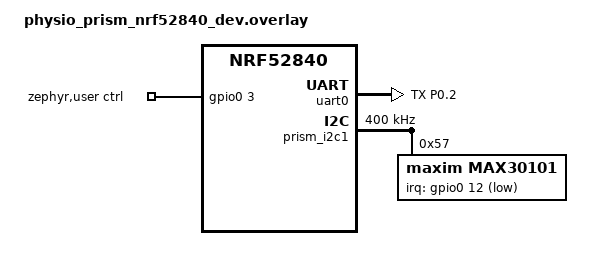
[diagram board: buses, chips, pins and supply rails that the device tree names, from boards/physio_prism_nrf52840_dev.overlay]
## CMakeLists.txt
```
# SPDX-License-Identifier: Apache-2.0

cmake_minimum_required(VERSION 3.20.0)
find_package(Zephyr REQUIRED HINTS $ENV{ZEPHYR_BASE})
project(async_app)

FILE(GLOB app_sources src/*.c)
target_sources(app PRIVATE ${app_sources})
```

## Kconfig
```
# heart rate sensor
#
# Copyright (c) 2025, CATIE
#
# SPDX-License-Identifier: Apache-2.0

mainmenu "Heart rate sample application"

DT_CHOSEN_HR := heart-rate-sensor

rsource "Kconfig.base"
rsource "Kconfig.max30101"

config SAMPLE_FEATURES
    bool
    default y if $(dt_chosen_enabled,$(DT_CHOSEN_HR))
    select MAX30101_SAMPLE_FEATURES

# Sample stream
config SAMPLE_STREAM_ENABLE
    bool "Enable asynchronous sensor stream API"

config SAMPLE_STREAM_BURST
    bool "Enable burst read"

config SAMPLE_STREAM
    bool
    depends on SAMPLE_STREAM_ENABLE

source "Kconfig.zephyr"
```

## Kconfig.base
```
# heart rate sensor base Kconfig
#
# Copyright (c) 2025, CATIE
#
# SPDX-License-Identifier: Apache-2.0

# Sample sensor channels
config SAMPLE_CHANNEL_RED
    bool
    depends on SAMPLE_CHANNEL_RED_ENABLE

config SAMPLE_CHANNEL_IR
    bool
    depends on SAMPLE_CHANNEL_IR_ENABLE

config SAMPLE_CHANNEL_GREEN
    bool
    depends on SAMPLE_CHANNEL_GREEN_ENABLE

config SAMPLE_CHANNEL_DIE_TEMP
    bool
    depends on SAMPLE_CHANNEL_DIE_TEMP_ENABLE

if SAMPLE_STREAM
# Sample sensor triggers opt DATA READY
config SAMPLE_TRIG_DATA_READY_NOP
    bool
    select SAMPLE_TRIGGER_DATA_READY

config SAMPLE_TRIG_DATA_READY_DROP
    bool
    select SAMPLE_TRIGGER_DATA_READY

config SAMPLE_TRIG_DATA_READY_INCLUDE
    bool
    select SAMPLE_TRIGGER_DATA_READY

config SAMPLE_TRIGGER_DATA_READY
    bool

# Sample sensor triggers chan DATA READY
config SAMPLE_TRIG_DATA_READY_NOP_CHAN_RED
    bool
    select SAMPLE_TRIGGER_DATA_READY_NOP_CHAN

config SAMPLE_TRIG_DATA_READY_NOP_CHAN_IR
    bool
    select SAMPLE_TRIGGER_DATA_READY_NOP_CHAN

config SAMPLE_TRIG_DATA_READY_NOP_CHAN_GREEN
    bool
    select SAMPLE_TRIGGER_DATA_READY_NOP_CHAN

config SAMPLE_TRIG_DATA_READY_NOP_CHAN_DIE_TEMP
    bool
    select SAMPLE_TRIGGER_DATA_READY_NOP_CHAN

config SAMPLE_TRIGGER_DATA_READY_NOP_CHAN
    bool
    select SAMPLE_TRIG_DATA_READY_NOP

config SAMPLE_TRIG_DATA_READY_INCLUDE_CHAN_RED
    bool
    select SAMPLE_TRIGGER_DATA_READY_INCLUDE_CHAN

config SAMPLE_TRIG_DATA_READY_INCLUDE_CHAN_IR
    bool
    select SAMPLE_TRIGGER_DATA_READY_INCLUDE_CHAN

config SAMPLE_TRIG_DATA_READY_INCLUDE_CHAN_GREEN
    bool
    select SAMPLE_TRIGGER_DATA_READY_INCLUDE_CHAN

config SAMPLE_TRIG_DATA_READY_INCLUDE_CHAN_DIE_TEMP
    bool
    select SAMPLE_TRIGGER_DATA_READY_INCLUDE_CHAN

config SAMPLE_TRIGGER_DATA_READY_INCLUDE_CHAN
    bool
    select SAMPLE_TRIG_DATA_READY_INCLUDE

config SAMPLE_TRIG_DATA_READY_DROP_CHAN_RED
    bool
    select SAMPLE_TRIGGER_DATA_READY_DROP_CHAN

config SAMPLE_TRIG_DATA_READY_DROP_CHAN_IR
    bool
    select SAMPLE_TRIGGER_DATA_READY_DROP_CHAN

config SAMPLE_TRIG_DATA_READY_DROP_CHAN_GREEN
    bool
    select SAMPLE_TRIGGER_DATA_READY_DROP_CHAN

config SAMPLE_TRIG_DATA_READY_DROP_CHAN_DIE_TEMP
    bool
    select SAMPLE_TRIGGER_DATA_READY_DROP_CHAN

config SAMPLE_TRIGGER_DATA_READY_DROP_CHAN
    bool
    select SAMPLE_TRIG_DATA_READY_DROP

# Sample sensor triggers opt WATERMARK
config SAMPLE_TRIG_FIFO_WATERMARK_NOP
    bool
    select SAMPLE_TRIGGER_FIFO_WATERMARK

config SAMPLE_TRIG_FIFO_WATERMARK_DROP
    bool
    select SAMPLE_TRIGGER_FIFO_WATERMARK

config SAMPLE_TRIG_FIFO_WATERMARK_INCLUDE
    bool
    select SAMPLE_TRIGGER_FIFO_WATERMARK

config SAMPLE_TRIGGER_FIFO_WATERMARK
    bool

# Sample sensor triggers chan WATERMARK
config SAMPLE_TRIG_FIFO_WATERMARK_NOP_CHAN_RED
    bool
    select SAMPLE_TRIGGER_FIFO_WATERMARK_NOP_CHAN

config SAMPLE_TRIG_FIFO_WATERMARK_NOP_CHAN_IR
    bool
    select SAMPLE_TRIGGER_FIFO_WATERMARK_NOP_CHAN

config SAMPLE_TRIG_FIFO_WATERMARK_NOP_CHAN_GREEN
    bool
    select SAMPLE_TRIGGER_FIFO_WATERMARK_NOP_CHAN

config SAMPLE_TRIG_FIFO_WATERMARK_NOP_CHAN_DIE_TEMP
    bool
    select SAMPLE_TRIGGER_FIFO_WATERMARK_NOP_CHAN

config SAMPLE_TRIGGER_FIFO_WATERMARK_NOP_CHAN
    bool
    select SAMPLE_TRIG_FIFO_WATERMARK_NOP

config SAMPLE_TRIG_FIFO_WATERMARK_INCLUDE_CHAN_RED
    bool
    select SAMPLE_TRIGGER_FIFO_WATERMARK_INCLUDE_CHAN

config SAMPLE_TRIG_FIFO_WATERMARK_INCLUDE_CHAN_IR
    bool
    select SAMPLE_TRIGGER_FIFO_WATERMARK_INCLUDE_CHAN

config SAMPLE_TRIG_FIFO_WATERMARK_INCLUDE_CHAN_GREEN
    bool
    select SAMPLE_TRIGGER_FIFO_WATERMARK_INCLUDE_CHAN

config SAMPLE_TRIG_FIFO_WATERMARK_INCLUDE_CHAN_DIE_TEMP
    bool
    select SAMPLE_TRIGGER_FIFO_WATERMARK_INCLUDE_CHAN

config SAMPLE_TRIGGER_FIFO_WATERMARK_INCLUDE_CHAN
    bool
    select SAMPLE_TRIG_FIFO_WATERMARK_INCLUDE

config SAMPLE_TRIG_FIFO_WATERMARK_DROP_CHAN_RED
    bool
    select SAMPLE_TRIGGER_FIFO_WATERMARK_DROP_CHAN

config SAMPLE_TRIG_FIFO_WATERMARK_DROP_CHAN_IR
    bool
    select SAMPLE_TRIGGER_FIFO_WATERMARK_DROP_CHAN

config SAMPLE_TRIG_FIFO_WATERMARK_DROP_CHAN_GREEN
    bool
    select SAMPLE_TRIGGER_FIFO_WATERMARK_DROP_CHAN

config SAMPLE_TRIG_FIFO_WATERMARK_DROP_CHAN_DIE_TEMP
    bool
    select SAMPLE_TRIGGER_FIFO_WATERMARK_DROP_CHAN

config SAMPLE_TRIGGER_FIFO_WATERMARK_DROP_CHAN
    bool
    select SAMPLE_TRIG_FIFO_WATERMARK_DROP

# Sample sensor triggers opt OVERFLOW
config SAMPLE_TRIG_OVERFLOW_NOP
    bool
    select SAMPLE_TRIGGER_OVERFLOW

config SAMPLE_TRIG_OVERFLOW_DROP
    bool
    select SAMPLE_TRIGGER_OVERFLOW

config SAMPLE_TRIG_OVERFLOW_INCLUDE
    bool
    select SAMPLE_TRIGGER_OVERFLOW

config SAMPLE_TRIGGER_OVERFLOW
    bool

# Sample sensor triggers chan OVERFLOW
config SAMPLE_TRIG_OVERFLOW_NOP_CHAN_RED
    bool
    select SAMPLE_TRIGGER_OVERFLOW_NOP_CHAN

config SAMPLE_TRIG_OVERFLOW_NOP_CHAN_IR
    bool
    select SAMPLE_TRIGGER_OVERFLOW_NOP_CHAN

config SAMPLE_TRIG_OVERFLOW_NOP_CHAN_GREEN
    bool
    select SAMPLE_TRIGGER_OVERFLOW_NOP_CHAN

config SAMPLE_TRIG_OVERFLOW_NOP_CHAN_DIE_TEMP
    bool
    select SAMPLE_TRIGGER_OVERFLOW_NOP_CHAN

config SAMPLE_TRIGGER_OVERFLOW_NOP_CHAN
    bool
    select SAMPLE_TRIG_OVERFLOW_NOP

config SAMPLE_TRIG_OVERFLOW_INCLUDE_CHAN_RED
    bool
    select SAMPLE_TRIGGER_OVERFLOW_INCLUDE_CHAN

config SAMPLE_TRIG_OVERFLOW_INCLUDE_CHAN_IR
    bool
    select SAMPLE_TRIGGER_OVERFLOW_INCLUDE_CHAN

config SAMPLE_TRIG_OVERFLOW_INCLUDE_CHAN_GREEN
    bool
    select SAMPLE_TRIGGER_OVERFLOW_INCLUDE_CHAN

config SAMPLE_TRIG_OVERFLOW_INCLUDE_CHAN_DIE_TEMP
    bool
    select SAMPLE_TRIGGER_OVERFLOW_INCLUDE_CHAN

config SAMPLE_TRIGGER_OVERFLOW_INCLUDE_CHAN
    bool
    select SAMPLE_TRIG_OVERFLOW_INCLUDE

config SAMPLE_TRIG_OVERFLOW_DROP_CHAN_RED
    bool
    select SAMPLE_TRIGGER_OVERFLOW_DROP_CHAN

config SAMPLE_TRIG_OVERFLOW_DROP_CHAN_IR
    bool
    select SAMPLE_TRIGGER_OVERFLOW_DROP_CHAN

config SAMPLE_TRIG_OVERFLOW_DROP_CHAN_GREEN
    bool
    select SAMPLE_TRIGGER_OVERFLOW_DROP_CHAN

config SAMPLE_TRIG_OVERFLOW_DROP_CHAN_DIE_TEMP
    bool
    select SAMPLE_TRIGGER_OVERFLOW_DROP_CHAN

config SAMPLE_TRIGGER_OVERFLOW_DROP_CHAN
    bool
    select SAMPLE_TRIG_OVERFLOW_DROP
endif # SAMPLE_STREAM
```

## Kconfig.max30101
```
# MAX30101 Kconfig file
#
# Copyright (c) 2025, CATIE
#
# SPDX-License-Identifier: Apache-2.0

DT_COMPAT_MAX30101 := maxim,max30101
DT_ARRAY_PROP_SLOT := led-slot

config MAX30101_SAMPLE_FEATURES
    bool
    depends on DT_HAS_MAXIM_MAX30101_ENABLED
    depends on $(dt_chosen_has_compat,$(DT_CHOSEN_HR),$(DT_COMPAT_MAX30101))
    imply SAMPLE_CHANNEL_RED if $(dt_nodelabel_array_prop_has_val,$(dt_chosen_label,$(DT_CHOSEN_HR)),$(DT_ARRAY_PROP_SLOT),1)
    imply SAMPLE_CHANNEL_IR if $(dt_nodelabel_array_prop_has_val,$(dt_chosen_label,$(DT_CHOSEN_HR)),$(DT_ARRAY_PROP_SLOT),2)
    imply SAMPLE_CHANNEL_GREEN if $(dt_nodelabel_array_prop_has_val,$(dt_chosen_label,$(DT_CHOSEN_HR)),$(DT_ARRAY_PROP_SLOT),3)
    imply SAMPLE_CHANNEL_DIE_TEMP if MAX30101_DIE_TEMPERATURE
    select SAMPLE_TRIG_DATA_READY_INCLUDE if MAX30101_TRIGGER && !SAMPLE_STREAM_BURST
    select SAMPLE_TRIG_DATA_READY_INCLUDE_CHAN_DIE_TEMP if MAX30101_TRIGGER && (SAMPLE_STREAM_BURST && MAX30101_DIE_TEMPERATURE)
    select SAMPLE_TRIG_FIFO_WATERMARK_INCLUDE if MAX30101_TRIGGER && SAMPLE_STREAM_BURST
    select SAMPLE_TRIG_OVERFLOW_NOP if MAX30101_TRIGGER
    imply SAMPLE_STREAM if MAX30101_STREAM

if MAX30101_SAMPLE_FEATURES

config MAX30101_SLOT0_VAL_$(dt_node_array_prop_int,$(dt_nodelabel_path,$(dt_chosen_label,$(DT_CHOSEN_HR))),$(DT_ARRAY_PROP_SLOT),0)
    bool
    default y

config MAX30101_SLOT1_VAL_$(dt_node_array_prop_int,$(dt_nodelabel_path,$(dt_chosen_label,$(DT_CHOSEN_HR))),$(DT_ARRAY_PROP_SLOT),1)
    bool
    default y

config MAX30101_SLOT2_VAL_$(dt_node_array_prop_int,$(dt_nodelabel_path,$(dt_chosen_label,$(DT_CHOSEN_HR))),$(DT_ARRAY_PROP_SLOT),2)
    bool
    default y

if SAMPLE_CHANNEL_RED

config SAMPLE_CHANNEL_RED_0
    bool
    default y if MAX30101_SLOT0_VAL_1 || MAX30101_SLOT1_VAL_1 || MAX30101_SLOT2_VAL_1

config SAMPLE_CHANNEL_RED_1
    bool
    default y if (MAX30101_SLOT0_VAL_1 && (MAX30101_SLOT1_VAL_1 || MAX30101_SLOT2_VAL_1)) || (MAX30101_SLOT1_VAL_1 && MAX30101_SLOT2_VAL_1)

config SAMPLE_CHANNEL_RED_2
    bool
    default y if MAX30101_SLOT0_VAL_1 && MAX30101_SLOT1_VAL_1 && MAX30101_SLOT2_VAL_1

endif # SAMPLE_CHANNEL_RED

if SAMPLE_CHANNEL_IR

config SAMPLE_CHANNEL_IR_0
    bool
    default y if MAX30101_SLOT0_VAL_2 || MAX30101_SLOT1_VAL_2 || MAX30101_SLOT2_VAL_2

config SAMPLE_CHANNEL_IR_1
    bool
    default y if (MAX30101_SLOT0_VAL_2 && (MAX30101_SLOT1_VAL_2 || MAX30101_SLOT2_VAL_2)) || (MAX30101_SLOT1_VAL_2 && MAX30101_SLOT2_VAL_2)

config SAMPLE_CHANNEL_IR_2
    bool
    default y if MAX30101_SLOT0_VAL_2 && MAX30101_SLOT1_VAL_2 && MAX30101_SLOT2_VAL_2

endif # SAMPLE_CHANNEL_IR

if SAMPLE_CHANNEL_GREEN

config SAMPLE_CHANNEL_GREEN_0
    bool
    default y if MAX30101_SLOT0_VAL_3 || MAX30101_SLOT1_VAL_3 || MAX30101_SLOT2_VAL_3

config SAMPLE_CHANNEL_GREEN_1
    bool
    default y if (MAX30101_SLOT0_VAL_3 && (MAX30101_SLOT1_VAL_3 || MAX30101_SLOT2_VAL_3)) || (MAX30101_SLOT1_VAL_3 && MAX30101_SLOT2_VAL_3)

config SAMPLE_CHANNEL_GREEN_2
    bool
    default y if MAX30101_SLOT0_VAL_3 && MAX30101_SLOT1_VAL_3 && MAX30101_SLOT2_VAL_3

endif # SAMPLE_CHANNEL_GREEN

if SAMPLE_CHANNEL_DIE_TEMP

config SAMPLE_CHANNEL_DIE_TEMP_0
    bool
    default y

endif # SAMPLE_CHANNEL_DIE_TEMP

endif # MAX30101_SAMPLE_FEATURES
```

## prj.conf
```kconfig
CONFIG_STDOUT_CONSOLE=y
CONFIG_LOG=y
CONFIG_I2C=y
CONFIG_SENSOR=y
CONFIG_SENSOR_ASYNC_API=y
CONFIG_SENSOR_LOG_LEVEL_DBG=y
CONFIG_GPIO=y
```

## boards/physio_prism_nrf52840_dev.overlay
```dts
#include <zephyr/dt-bindings/gpio/prism-header.h>

&pinctrl {
	uart0_ppg_i2c1_default: uart0_ppg_i2c1_default {
		group1 {
			psels = <NRF_PSEL(UART_TX, 0, 2)>;
		};
	};

	uart0_ppg_i2c1_sleep: uart0_ppg_i2c1_sleep {
		group1 {
			psels = <NRF_PSEL(UART_TX, 0, 2)>;
			low-power-enable;
		};
	};
};

/ {
	chosen {
		heart-rate-sensor = &max30101;
	};

	zephyr,user {
		ctrl-gpios = <&gpio0 3 GPIO_ACTIVE_HIGH>;
	};
};

&prism_adc{
	status = "disabled";
};

&uart0 {
//	current-speed = <921600>;
	pinctrl-0 = <&uart0_ppg_i2c1_default>;
	pinctrl-1 = <&uart0_ppg_i2c1_sleep>;
};

&prism_i2c1 {

	clock-frequency = < I2C_BITRATE_FAST >;

	max30101: max30101@57 {
		compatible = "maxim,max30101";
		label = "max30101";
		reg = <0x57>;
		acq-mode = "multi-led";
		smp-ave = <4>;
		adc-rge = <2048>;
		smp-sr = <50>;
		led-pw = <69>;
		led-slot = <1 2 3 0>;
		led-pa = [0f 0f 0f];
		fifo-watermark = <12>;
		irq-gpios = <&gpio0 12 GPIO_ACTIVE_LOW>;
	};
};
```

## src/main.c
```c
/*
 * Copyright (c) 2025, CATIE
 *
 * SPDX-License-Identifier: Apache-2.0
 */

#include <zephyr/kernel.h>
#include <zephyr/drivers/sensor.h>
#include <zephyr/drivers/sensor_data_types.h>
#include <zephyr/dsp/print_format.h>
#include <zephyr/logging/log.h>
#include <zephyr/rtio/rtio.h>
#include <stdio.h>

#include "async_channels.h"

#if CONFIG_SAMPLE_STREAM
LOG_MODULE_REGISTER(stream_hr, LOG_LEVEL_INF);
#include "async_triggers.h"
#else
LOG_MODULE_REGISTER(async_hr, LOG_LEVEL_INF);
#endif /* CONFIG_SAMPLE_STREAM */

#if CONFIG_SAMPLE_STREAM
#define NUM_SENSORS 1
#define TRIG_X(_trig, _opt, ...) (SENSOR_TRIG_##_trig, OPT_FROM_TOKEN(_opt) \
	COND_CODE_1(IS_EMPTY(__VA_ARGS__), (), (, { __VA_ARGS__ }))),
SENSOR_DT_STREAM_IODEV(iodev, DT_CHOSEN(heart_rate_sensor), TRIGGER_LIST(TRIGGER_OPT));
#undef TRIG_X
RTIO_DEFINE_WITH_MEMPOOL(ctx, NUM_SENSORS, NUM_SENSORS, NUM_SENSORS*20, 256, sizeof(void *));
struct rtio_sqe *handle;
#else
#define CHAN_X(_, _chan, _idx) (SENSOR_CHAN_##_chan, _idx),
SENSOR_DT_READ_IODEV(iodev, DT_CHOSEN(heart_rate_sensor), SENSOR_AVAILABLE_CHANNEL(CHAN_X));
#undef CHAN_X
RTIO_DEFINE(ctx, 1, 1);
#endif

struct sensor_async_data {
	uint32_t fit;
	struct sensor_q31_data *frame;
	uint16_t size;
};

#include <zephyr/drivers/gpio.h>
const struct gpio_dt_spec sensor_ctrl = GPIO_DT_SPEC_GET(DT_PATH(zephyr_user), ctrl_gpios);

static inline size_t max_size(const size_t *arr, size_t n) {
    size_t max = 0;
    for (size_t i = 0; i < n; ++i)
        if (arr[i] > max) max = arr[i];
    return max;
}

static const struct device *check_heart_rate_device(void)
{
	/* Check if heart rate sensor is available in chosen node */
	if (!DT_NODE_EXISTS(DT_CHOSEN(heart_rate_sensor))) {
		LOG_ERR("Error: no device found in chosen node");
		return NULL;
	}

	/* Get heart rate sensor device */
	const struct device *const dev = DEVICE_DT_GET(DT_CHOSEN(heart_rate_sensor));

	/* Check that the device is okay */
	if (dev == NULL) {
		/* No such node, or the node does not have status "okay". */
		LOG_ERR("Error: no device found.");
		return NULL;
	}

	if (!device_is_ready(dev)) {
		LOG_ERR("Error: Device \"%s\" is not ready; "
			"check the driver initialization logs for errors.",
			dev->name);
		return NULL;
	}

	/* Setup CTLR */
	if (!gpio_is_ready_dt(&sensor_ctrl)) {
		LOG_ERR("ERROR: PPG CTRL device is not ready");
		return NULL;
	}

	int result = gpio_pin_configure_dt(&sensor_ctrl, GPIO_OUTPUT_ACTIVE);

	if (result < 0) {
		LOG_ERR("ERROR [%d]: Failed to configure PPG CTRL gpio", result);
		return NULL;
	}

	LOG_INF("Found device \"%s\", getting sensor data", dev->name);
	return dev;
}

int main(void)
{
	const struct device *dev = check_heart_rate_device();
	size_t channel_width = max_size(channel_widths, ARRAY_SIZE(channel_widths)) - 1;

	if (dev == NULL) {
		return 0;
	}

	const struct sensor_decoder_api *decoder;

	int rc = sensor_get_decoder(dev, &decoder);

	if (rc != 0) {
		LOG_ERR("%s: sensor_get_decode() failed: %d", dev->name, rc);
		return rc;
	}

	size_t base_size = 0, frame_size = 0;
	struct sensor_async_data data[ARRAY_SIZE(chan_list)];

	for (size_t i = 0; i < ARRAY_SIZE(chan_list); i++) {
		rc = decoder->get_size_info(chan_list[i], &base_size, &frame_size);

		if (rc != 0) {
			LOG_ERR("sensor_get_size_info(%s) failed: [%d]", channel_names[i], rc);
			return rc;
		}
		LOG_INF("[%-*s]: [%d]", channel_width,
			channel_names[i], chan_list[i].chan_idx);

		data[i].fit = 0;
		data[i].frame = NULL;
		data[i].size = 0;
	}

#if CONFIG_SAMPLE_STREAM
	struct rtio_cqe *cqe;
	size_t trigger_width = max_size(trigger_widths, ARRAY_SIZE(trigger_widths)) - 1;

	/* Start the streams */
	LOG_INF("Device (%s): start stream", dev->name);
	sensor_stream(&iodev, &ctx, NULL, &handle);
#endif /* CONFIG_SAMPLE_STREAM */

	while (1) {
#if CONFIG_SAMPLE_STREAM
		uint8_t *buf;
		uint32_t buf_len;

		cqe = rtio_cqe_consume_block(&ctx);

		if (cqe->result != 0) {
			LOG_ERR("%s: rtio_cqe_consume_block() failed", dev->name);
			return cqe->result;
		}

		rc = rtio_cqe_get_mempool_buffer(&ctx, cqe, &buf, &buf_len);

		if (rc != 0) {
			LOG_ERR("%s: rtio_cqe_mempool_buffer() failed", dev->name);
			return rc;
		}

		rtio_cqe_release(&ctx, cqe);

		for (size_t i = 0; i < ARRAY_SIZE(trigger_list); i++) {
			rc = decoder->has_trigger(buf, trigger_list[i]);
			LOG_INF("Trigger (%d)[%-*s]: [%s]", i, trigger_width, trigger_names[i], rc? "X" : " ");
		}
#else
		uint8_t buf[128];
		rc = sensor_read(&iodev, &ctx, buf, 128);

		if (rc != 0) {
			LOG_ERR("%s: sensor_read() failed: [%d]", dev->name, rc);
			return rc;
		}
#endif /* CONFIG_SAMPLE_STREAM */

		for (size_t i = 0; i < ARRAY_SIZE(chan_list); i++) {
			data[i].size = 0;
			rc = decoder->get_frame_count(buf, chan_list[i], &data[i].size);

			if (rc == -ENODATA) {
				continue;
			}

			if (rc != 0) {
				LOG_ERR("sensor_get_frame_count(%s) failed: [%d]", channel_names[i], rc);
				return rc;
			}

			data[i].fit = 0;
			data[i].frame = (struct sensor_q31_data *)malloc(base_size + data[i].size * frame_size);
			rc = decoder->decode(buf, chan_list[i], &data[i].fit, data[i].size, data[i].frame);

			if (rc == -ENODATA) {
				continue;
			}

			if (rc < 0) {
				LOG_ERR("decoder->decode(%s) failed: [%d]", channel_names[i], rc);
				return rc;
			}
		}

		uint16_t max = 0;
		for (size_t i = 0; i < ARRAY_SIZE(chan_list); i++) {
			if (data[i].size > max) {
				max = data[i].size;
			}
		}

		for (size_t i = 0; i < max; i++) {
			for (size_t j = 0; j < ARRAY_SIZE(chan_list); j++) {
				if (i >= data[j].size) {
					continue;
				}

				LOG_INF("(%02d/%02d)[%-*s](%d): %" PRIsensor_q31_data, i + 1, data[j].size, channel_width, channel_names[j], chan_list[j].chan_idx,
				PRIsensor_q31_data_arg(*data[j].frame, i));
			}
		}

		for (size_t i = 0; i < ARRAY_SIZE(chan_list); i++) {
			if (data[i].size != 0) {
				free(data[i].frame);
			}
		}

#if CONFIG_SAMPLE_STREAM
		rtio_release_buffer(&ctx, buf, buf_len);
#else
		k_sleep(K_MSEC(100));
#endif /* CONFIG_SAMPLE_STREAM */
	}

	return 0;
}
```

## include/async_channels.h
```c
/*
 * Copyright (c) 2025, CATIE
 *
 * SPDX-License-Identifier: Apache-2.0
 */

#pragma once

#include <zephyr/drivers/sensor.h>

#define FUNCTION_INDICES(i, APPLY, _chan, ...) \
	IF_ENABLED(CONFIG_SAMPLE_CHANNEL_##_chan##_##i, (APPLY(__VA_ARGS__, _chan, i)))

#define SUPPORTED_INDICES(APPLY, _chan, ...) LISTIFY(CONFIG_SAMPLE_CHANNEL_MAX_INDEX, FUNCTION_INDICES, (), APPLY, _chan, __VA_ARGS__)

#define SENSOR_AVAILABLE_CHANNEL(APPLY, ...)                                                                        \
	IF_ENABLED(CONFIG_SAMPLE_CHANNEL_RED, (SUPPORTED_INDICES(APPLY, RED,__VA_ARGS__)))                                                                           \
	IF_ENABLED(CONFIG_SAMPLE_CHANNEL_IR, (SUPPORTED_INDICES(APPLY, IR, __VA_ARGS__)))                                                                             \
	IF_ENABLED(CONFIG_SAMPLE_CHANNEL_GREEN, (SUPPORTED_INDICES(APPLY, GREEN, __VA_ARGS__)))                                                                       \
	IF_ENABLED(CONFIG_SAMPLE_CHANNEL_DIE_TEMP, (SUPPORTED_INDICES(APPLY, DIE_TEMP, __VA_ARGS__)))

#define CHAN_X(_, _chan, _idx) (struct sensor_chan_spec){SENSOR_CHAN_##_chan, _idx},
const struct sensor_chan_spec chan_list[] = {SENSOR_AVAILABLE_CHANNEL(CHAN_X)};
#undef CHAN_X

#define CHAN_X(_0, _chan, _1) #_chan,
const char *channel_names[] = {SENSOR_AVAILABLE_CHANNEL(CHAN_X)};
#undef CHAN_X

#define CHAN_X(_0, _chan, _1) sizeof(#_chan),
const size_t channel_widths[] = {SENSOR_AVAILABLE_CHANNEL(CHAN_X)};
#undef CHAN_X
```

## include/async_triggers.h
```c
/*
 * Copyright (c) 2025, CATIE
 *
 * SPDX-License-Identifier: Apache-2.0
 */

#pragma once

#include <zephyr/sys/util_macro.h>

#include "async_channels.h"

/* Primitive paste (no expansion) */
#define PP_CAT(a, b) a##b
/* Expand-then-paste (two-stage) */
#define CAT2(a, b) PP_CAT(a, b)
/* Expands to SENSOR_STREAM_DATA_INCLUDE / _DROP / _NOP */
#define OPT_FROM_TOKEN(_opt_token) CAT2(SENSOR_STREAM_DATA_, _opt_token)

#define TRIGGER_GEN(_trig, _opt, ...) \
    TRIG_X(_trig, _opt, __VA_ARGS__)

#define TRIGGER_CHAN_GEN(_trig, _opt, _chan, _idx) \
    IF_ENABLED(CONCAT(CONFIG_SAMPLE_TRIG_, _trig, _, _opt, _CHAN_, _chan), ( \
        TRIGGER_GEN(_trig, _opt, SENSOR_CHAN_##_chan, _idx) \
    ))

#define TRIGGER_OPT_GEN(_trig, _opt) \
    COND_CODE_1(CONCAT(CONFIG_SAMPLE_TRIGGER_, _trig, _, _opt, _CHAN), ( \
        SENSOR_AVAILABLE_CHANNEL(TRIGGER_CHAN_GEN, _trig, _opt) \
    ), ( \
        TRIGGER_GEN(_trig, _opt) \
    ))

#define TRIGGER_OPT(_trig) \
    IF_ENABLED(CONCAT(CONFIG_SAMPLE_TRIG_, _trig, _NOP), (TRIGGER_OPT_GEN(_trig, NOP))) \
    IF_ENABLED(CONCAT(CONFIG_SAMPLE_TRIG_, _trig, _INCLUDE), (TRIGGER_OPT_GEN(_trig, INCLUDE))) \
    IF_ENABLED(CONCAT(CONFIG_SAMPLE_TRIG_, _trig, _DROP), (TRIGGER_OPT_GEN(_trig, DROP)))

#define TRIGGER_LIST(APPLY) \
    IF_ENABLED(CONFIG_SAMPLE_TRIGGER_DATA_READY, (APPLY(DATA_READY))) \
    IF_ENABLED(CONFIG_SAMPLE_TRIGGER_FIFO_WATERMARK, (APPLY(FIFO_WATERMARK))) \
    IF_ENABLED(CONFIG_SAMPLE_TRIGGER_OVERFLOW, (APPLY(OVERFLOW)))

#define TRIG_X(trig) (enum sensor_trigger_type)(SENSOR_TRIG_##trig),
enum sensor_trigger_type trigger_list[] = {TRIGGER_LIST(TRIG_X)};
#undef TRIG_X

#define TRIG_X(trig) #trig,
const char *trigger_names[] = {TRIGGER_LIST(TRIG_X)};
#undef TRIG_X

#define TRIG_X(trig) sizeof(#trig),
const size_t trigger_widths[] = {TRIGGER_LIST(TRIG_X)};
#undef TRIG_X
```
